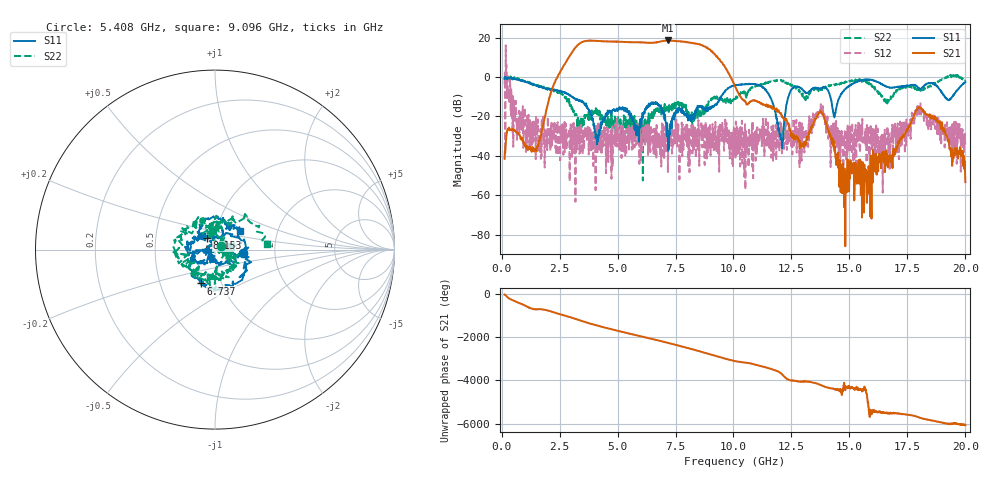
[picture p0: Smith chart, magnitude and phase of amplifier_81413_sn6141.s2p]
!Created with skrf (http://scikit-rf.org).
# GHz S RI R 50.0
!freq ReS11 ImS11 ReS21 ImS21 ReS12 ImS12 ReS22 ImS22
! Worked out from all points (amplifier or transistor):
!   1601 points, 130 MHz to 20 GHz, reference 50 ohm
!   highest |S21| = 18.5 dB at 7.184 GHz (marker M1)
!   |S21| within 3 dB of that: 3.228 GHz to 8.746 GHz (5.517 GHz wide, 92.2 % of centre)
!   unconditionally stable (mu >= 1): 444.7 MHz to 488.2 MHz; 551.7 MHz to 19.19 GHz; 19.77 GHz to end of sweep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
!   at 3.433 GHz: K = 1.66, MAG = 17.8 dB, |S12| = -27.7 dB
!   at 10.06 GHz: K = 18.61, MAG = -2.2 dB, |S12| = -31.6 dB
!   at 20 GHz: K = 1779.79, MAG = -45.0 dB, |S12| = -34.3 dB
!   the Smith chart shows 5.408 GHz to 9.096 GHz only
!   S11 on the Smith chart (normalised r, x): 5.408 GHz: 1.37, -0.05; 6.737 GHz: 0.80, -0.32; 8.153 GHz: 0.91, +0.12; 9.096 GHz: 1.29, +0.27
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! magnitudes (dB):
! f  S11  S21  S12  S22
! 130 MHz  -1.0  -41.6  -3.9  -1.4
! 1.484 GHz  -4.3  -36.8  -20.3  -4.1
! 2.278 GHz  -6.6  -3.2  -23.3  -6.3
! 3.446 GHz  -12.5  17.6  -33.1  -23.9
! 4.116 GHz  -34.3  18.2  -29.3  -18.1
! 5.408 GHz  -16.1  17.7  -29.7  -28.4
! 5.867 GHz  -29.6  17.5  -29.4  -25.4
! 6.737 GHz  -13.8  17.7  -30.2  -15.8
! 6.762 GHz  -14.5  17.7  -31.2  -16.3
! 7.184 GHz  -37.5  18.5  -37.6  -17.0
! 8.153 GHz  -22.2  17.3  -29.8  -22.2
! 9.096 GHz  -15.3  12.8  -23.9  -10.8
! 10.06 GHz  -4.2  -4.7  -31.6  -11.3
! 11.38 GHz  -6.5  -14.6  -23.3  -2.9
! 12.06 GHz  -31.8  -19.1  -34.5  -1.9
! 12.5 GHz  -6.4  -30.2  -29.0  -4.0
! 13.38 GHz  -6.2  -25.1  -21.9  -7.3
! 13.85 GHz  -5.3  -18.7  -14.8  -6.3
! 14.72 GHz  -7.4  -49.1  -31.1  -2.9
! 16.7 GHz  -5.2  -43.0  -28.7  -12.0
! 18.04 GHz  -6.1  -15.6  -15.6  -6.6
! 20 GHz  -2.6  -53.4  -34.3  -1.7
